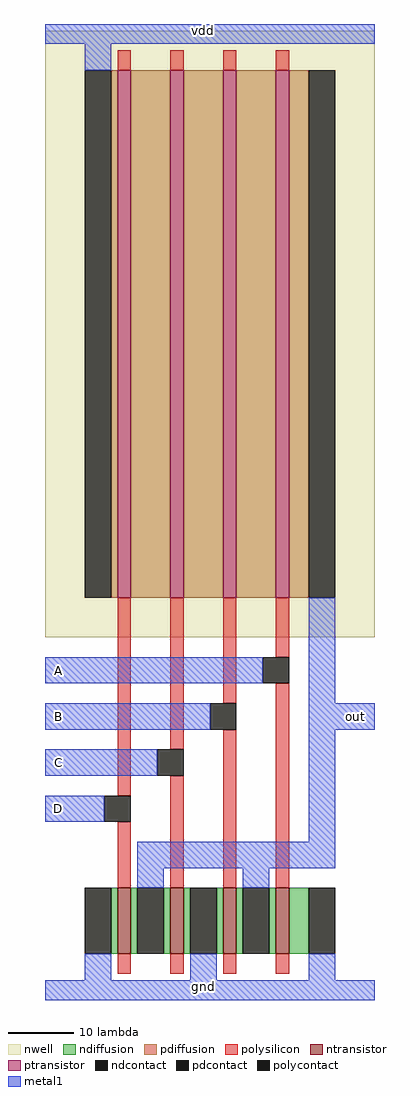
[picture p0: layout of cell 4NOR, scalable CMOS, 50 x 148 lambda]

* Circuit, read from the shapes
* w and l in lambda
.subckt 4NOR A B C D gnd out vdd
M1 out D gnd VSUBS nfet w=10 l=2
M2 gnd C out VSUBS nfet w=10 l=2
M3 out B gnd VSUBS nfet w=10 l=2
M4 gnd A out VSUBS nfet w=10 l=2
M5 n1 D vdd n2 pfet w=80 l=2
M6 n3 C n1 n2 pfet w=80 l=2
M7 n4 B n3 n2 pfet w=80 l=2
M8 out A n4 n2 pfet w=80 l=2
.ends

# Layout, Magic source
magic
tech scmos
<< nwell >>
rect 0 0 50 92
<< ntransistor >>
rect 11 -48 13 -38
rect 19 -48 21 -38
rect 27 -48 29 -38
rect 35 -48 37 -38
<< ptransistor >>
rect 11 6 13 86
rect 19 6 21 86
rect 27 6 29 86
rect 35 6 37 86
<< ndiffusion >>
rect 10 -48 11 -38
rect 13 -48 14 -38
rect 18 -48 19 -38
rect 21 -48 22 -38
rect 26 -48 27 -38
rect 29 -48 30 -38
rect 34 -48 35 -38
rect 37 -48 40 -38
<< pdiffusion >>
rect 10 6 11 86
rect 13 6 19 86
rect 21 6 27 86
rect 29 6 35 86
rect 37 6 40 86
<< ndcontact >>
rect 6 -48 10 -38
rect 14 -48 18 -38
rect 22 -48 26 -38
rect 30 -48 34 -38
rect 40 -48 44 -38
<< pdcontact >>
rect 6 6 10 86
rect 40 6 44 86
<< polysilicon >>
rect 11 86 13 89
rect 19 86 21 89
rect 27 86 29 89
rect 35 86 37 89
rect 11 -24 13 6
rect 19 -17 21 6
rect 27 -10 29 6
rect 35 -3 37 6
rect 11 -38 13 -28
rect 19 -38 21 -21
rect 27 -38 29 -14
rect 35 -38 37 -7
rect 11 -51 13 -48
rect 19 -51 21 -48
rect 27 -51 29 -48
rect 35 -51 37 -48
<< polycontact >>
rect 33 -7 37 -3
rect 25 -14 29 -10
rect 17 -21 21 -17
rect 9 -28 13 -24
<< metal1 >>
rect 0 90 50 93
rect 6 86 10 90
rect 0 -7 33 -3
rect 40 -10 44 6
rect 0 -14 25 -10
rect 40 -14 50 -10
rect 0 -21 17 -17
rect 0 -28 9 -24
rect 40 -31 44 -14
rect 14 -35 44 -31
rect 14 -38 18 -35
rect 30 -38 34 -35
rect 6 -52 10 -48
rect 22 -52 26 -48
rect 40 -52 44 -48
rect 0 -55 50 -52
<< labels >>
rlabel metal1 24 -53 24 -53 1 gnd
rlabel metal1 2 -26 2 -26 3 D
rlabel metal1 2 -19 2 -19 3 C
rlabel metal1 2 -12 2 -12 3 B
rlabel metal1 2 -5 2 -5 3 A
rlabel metal1 24 92 24 92 5 vdd
rlabel metal1 47 -12 47 -12 7 out
<< end >>
